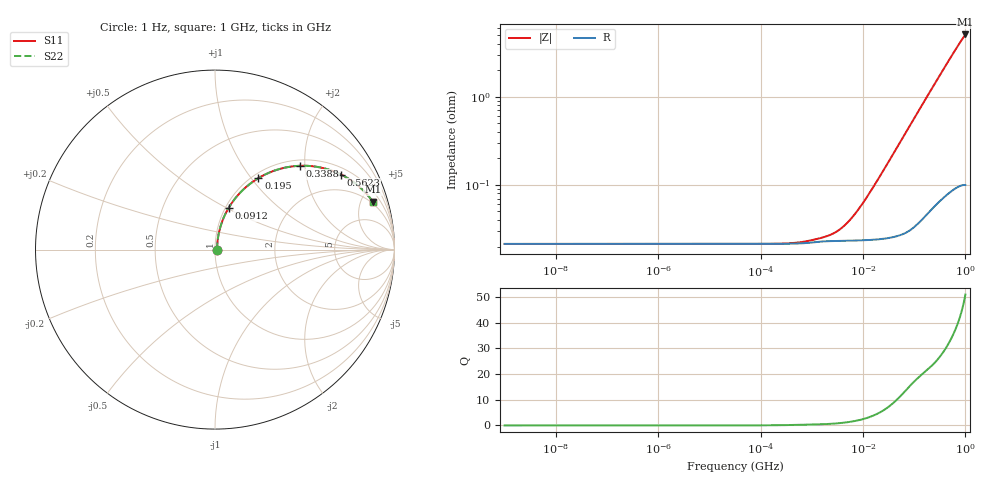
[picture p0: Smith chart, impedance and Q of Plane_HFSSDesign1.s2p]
! Touchstone file exported from HFSS 2022.2.0
!  File:  C:/Users/pete_/Documents/Type2_Expert_Test_Board/Layout/Current/Plane.aedt
!  Generated:  3:53:57 PM  Mar 16, 2023
!  Design:  HFSSDesign1
!  Project:  Plane
!  Setup:  Setup1
!  Solution:  Sweep1
# GHz S MA R 1.000000
! Terminal data exported
! Port[1] = Power_T1
! Port[2] = Power_T2
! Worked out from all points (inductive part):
!   901 points, 1 Hz to 1 GHz, reference 1 ohm
!   read as one part in series: L = 917 pH near 12.59 MHz
!   highest Q = 50.4 at 1 GHz (marker M1), where L = 807 pH
!   S11 on the Smith chart (normalised r, x): 1 Hz: 1.02, +0.00; 91.2 MHz: 1.04, +0.51; 195 MHz: 1.07, +1.08; 338.8 MHz: 1.13, +1.88; 562.3 MHz: 1.26, +3.19; 1 GHz: 1.82, +6.23
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1e-09  0.01049 0.0  0.9894 -0.0  0.9894 -0.0  0.01071 0.0
! Gamma 0.0326995944954671 5.5079879781204E-08 0.0326918884206766 5.5097364685531E-08
! Port Impedance 1 0 1 0
3.235937e-08  0.01049 0.0  0.9894 -0.0  0.9894 -0.0  0.01071 0.0
1.023293e-06  0.01049 0.0  0.9894 -0.0  0.9894 -0.0  0.01071 0.0
3.235937e-05  0.01049 0.8  0.9894 -0.0  0.9894 -0.0  0.01071 0.8
0.0003311311  0.01066 8.3  0.9894 -0.1  0.9894 -0.1  0.01085 8.1
0.001  0.01168 19.3  0.989 -0.2  0.989 -0.2  0.01168 19.3
0.002570396  0.01372 33.5  0.9886 -0.5  0.9886 -0.5  0.01379 33.7
0.003548134  0.01538 41.5  0.9885 -0.6  0.9885 -0.6  0.01542 41.5
0.004897788  0.01814 49.9  0.9884 -0.8  0.9884 -0.8  0.01815 49.9
0.00691831  0.02278 58.3  0.9882 -1.2  0.9882 -1.2  0.02278 58.4
0.01023293  0.03107 66.3  0.9879 -1.7  0.9879 -1.7  0.03107 66.3
0.03235937  0.09069 76.9  0.9836 -5.3  0.9836 -5.3  0.0907 76.9
0.05495409  0.1514 76.1  0.9753 -8.9  0.9753 -8.9  0.1514 76.1
0.09120108  0.2443 71.9  0.9545 -14.6  0.9545 -14.6  0.2443 71.9
0.1348963  0.3461 66.2  0.9202 -20.9  0.9202 -20.9  0.3461 66.2
0.1949845  0.4655 58.8  0.8638 -28.7  0.8638 -28.7  0.4655 58.8
0.2630268  0.5733 51.5  0.7958 -36.2  0.7958 -36.2  0.5733 51.5
0.3388442  0.6645 44.6  0.7223 -43.3  0.7223 -43.3  0.6645 44.6
0.4365158  0.7481 37.6  0.638 -50.5  0.638 -50.5  0.7481 37.6
0.5623413  0.8183 30.7  0.5491 -57.7  0.5491 -57.7  0.8183 30.7
0.7762471  0.8842 22.5  0.4411 -66.1  0.4411 -66.1  0.8842 22.5
1  0.9189 16.9  0.3677 -72.0  0.3677 -72.0  0.9189 16.9
